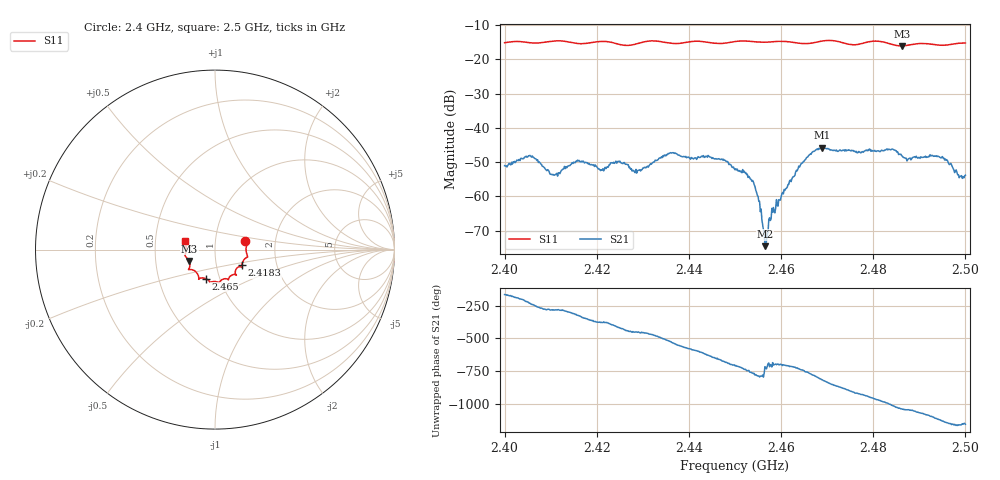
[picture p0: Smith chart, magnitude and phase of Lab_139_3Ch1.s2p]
# Hz S RI R 50
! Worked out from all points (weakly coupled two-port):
!   601 points, 2.4 GHz to 2.5 GHz, reference 50 ohm
!   highest |S21| = -45.76 dB at 2.4688 GHz (marker M1); lowest = -74.6 dB at 2.4565 GHz (marker M2)
!   lowest |S11| = -16.1 dB at 2.4862 GHz (marker M3), VSWR 1.37, Z = 37.2 - j4.83 ohm
!   |S11| at or under -10 dB: start of sweep to end of sweep
!   S12 and S22 are empty: the file has one direction only
!   S11 on the Smith chart (normalised r, x): 2.4 GHz: 1.40, +0.14; 2.4183 GHz: 1.33, -0.24; 2.465 GHz: 0.86, -0.28; 2.5 GHz: 0.71, +0.07
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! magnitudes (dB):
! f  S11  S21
! 2.4 GHz  -15.1  -51.1
! 2.4057 GHz  -15.2  -48.3
! 2.411 GHz  -14.6  -53.7
! 2.4167 GHz  -15.4  -49.8
! 2.4183 GHz  -15.2  -50.4
! 2.4212 GHz  -14.8  -52.3
! 2.4247 GHz  -15.6  -49.8
! 2.4287 GHz  -15.5  -53.2
! 2.4333 GHz  -14.7  -49.3
! 2.4442 GHz  -15.0  -48.1
! 2.45 GHz  -14.8  -52.3
! 2.454 GHz  -14.8  -55.8
! 2.4552 GHz  -15.0  -61.4
! 2.4565 GHz  -15.0  -74.6
! 2.4585 GHz  -14.8  -64.6
! 2.465 GHz  -15.4  -49.7
! 2.4667 GHz  -15.2  -47.2
! 2.4688 GHz  -14.7  -45.8
! 2.4833 GHz  -15.3  -46.2
! 2.4862 GHz  -16.1  -48.1
! 2.4945 GHz  -15.9  -48.6
! 2.5 GHz  -15.2  -53.8
